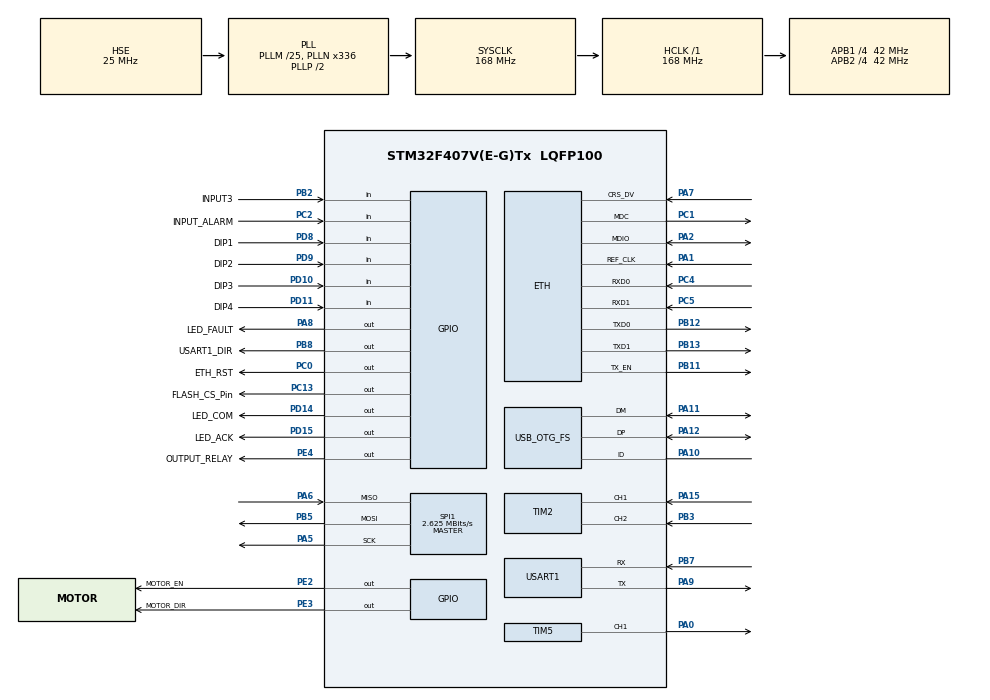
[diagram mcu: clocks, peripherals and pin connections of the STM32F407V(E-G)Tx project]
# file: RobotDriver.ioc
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Dma.Request0=USART1_RX
Dma.USART1_RX.0.Direction=DMA_PERIPH_TO_MEMORY
Dma.USART1_RX.0.FIFOMode=DMA_FIFOMODE_DISABLE
Dma.USART1_RX.0.Instance=DMA2_Stream2
Dma.USART1_RX.0.MemDataAlignment=DMA_MDATAALIGN_BYTE
Dma.USART1_RX.0.MemInc=DMA_MINC_ENABLE
Dma.USART1_RX.0.Mode=DMA_CIRCULAR
Dma.USART1_RX.0.PeriphDataAlignment=DMA_PDATAALIGN_BYTE
Dma.USART1_RX.0.PeriphInc=DMA_PINC_DISABLE
Dma.USART1_RX.0.Priority=DMA_PRIORITY_LOW
ETH.MediaInterface=HAL_ETH_RMII_MODE
FREERTOS.Tasks01=ModbusTCPTask,21,256,ModbusTCPTaskFunc,Default,NULL,Dynamic,NULL,NULL;MotorControlTas,21,128,MotorControlTaskFunc,Default,NULL,Dynamic,NULL,NULL;ModbusRTUTask,21,128,ModbusRTUTaskFunc,Default,NULL,Dynamic,NULL,NULL;GovernerTask,21,128,GovernerTaskFunc,Default,NULL,Dynamic,NULL,NULL
FREERTOS.configTOTAL_HEAP_SIZE=30000
LWIP.BSP.number=1
LWIP.GATEWAY_ADDRESS=192.168.001.001
LWIP.IP_ADDRESS=192.168.001.100
LWIP.LWIP_DHCP=0
LWIP.NETMASK_ADDRESS=255.255.255.000
LWIP.Version=v2.1.2_Cube
LWIP0.BSP.STBoard=false
LWIP0.BSP.api=BSP_COMPONENT_DRIVER
LWIP0.BSP.component=LAN8742
LWIP0.BSP.instance=LAN8742
LWIP0.BSP.name=Driver_PHY
LWIP0.BSP.semaphore=S_LAN8742
LWIP0.BSP.solution=LAN8742
Mcu.Family=STM32F4
Mcu.Name=STM32F407V(E-G)Tx
Mcu.Package=LQFP100
NVIC.DMA2_Stream2_IRQn=true\:5\:0\:false\:false\:true\:true\:false\:true\:true
NVIC.ETH_IRQn=true\:5\:0\:false\:false\:true\:true\:false\:true\:true
NVIC.PriorityGroup=NVIC_PRIORITYGROUP_4
NVIC.TIM5_IRQn=true\:5\:0\:false\:false\:true\:true\:true\:true\:true
NVIC.TIM6_DAC_IRQn=true\:15\:0\:false\:false\:true\:false\:false\:true\:true
NVIC.TimeBase=TIM6_DAC_IRQn
NVIC.TimeBaseIP=TIM6
NVIC.USART1_IRQn=true\:5\:0\:false\:false\:true\:true\:true\:true\:true
PA0-WKUP.Signal=S_TIM5_CH1
PA1.Mode=RMII
PA1.Signal=ETH_REF_CLK
PA10.Mode=OTG/Dual_Role_Device
PA10.Signal=USB_OTG_FS_ID
PA11.Mode=OTG/Dual_Role_Device
PA11.Signal=USB_OTG_FS_DM
PA12.Mode=OTG/Dual_Role_Device
PA12.Signal=USB_OTG_FS_DP
PA13.Mode=Serial_Wire
PA13.Signal=SYS_JTMS-SWDIO
PA14.Mode=Serial_Wire
PA14.Signal=SYS_JTCK-SWCLK
PA15.Signal=S_TIM2_CH1_ETR
PA2.Mode=RMII
PA2.Signal=ETH_MDIO
PA5.Mode=Full_Duplex_Master
PA5.Signal=SPI1_SCK
PA6.Mode=Full_Duplex_Master
PA6.Signal=SPI1_MISO
PA7.Mode=RMII
PA7.Signal=ETH_CRS_DV
PA8.GPIO_Label=LED_FAULT
PA8.PinState=GPIO_PIN_SET
PA8.Signal=GPIO_Output
PA9.Mode=Asynchronous
PA9.Signal=USART1_TX
PB11.Mode=RMII
PB11.Signal=ETH_TX_EN
PB12.Mode=RMII
PB12.Signal=ETH_TXD0
PB13.Mode=RMII
PB13.Signal=ETH_TXD1
PB2.GPIO_Label=INPUT3
PB2.Signal=GPIO_Input
PB3.Signal=S_TIM2_CH2
PB5.Mode=Full_Duplex_Master
PB5.Signal=SPI1_MOSI
PB7.Mode=Asynchronous
PB7.Signal=USART1_RX
PB8.GPIO_Label=USART1_DIR
PB8.Signal=GPIO_Output
PC0.GPIO_Label=ETH_RST
PC0.Signal=GPIO_Output
PC1.Mode=RMII
PC1.Signal=ETH_MDC
PC13-ANTI_TAMP.GPIO_Label=FLASH_CS_Pin
PC13-ANTI_TAMP.Signal=GPIO_Output
PC2.GPIO_Label=INPUT_ALARM
PC2.GPIO_PuPd=GPIO_PULLUP
PC2.Signal=GPIO_Input
PC4.Mode=RMII
PC4.Signal=ETH_RXD0
PC5.Mode=RMII
PC5.Signal=ETH_RXD1
PD10.GPIO_Label=DIP3
PD10.GPIO_PuPd=GPIO_PULLUP
PD10.Signal=GPIO_Input
PD11.GPIO_Label=DIP4
PD11.GPIO_PuPd=GPIO_PULLUP
PD11.Signal=GPIO_Input
PD14.GPIO_Label=LED_COM
PD14.PinState=GPIO_PIN_SET
PD14.Signal=GPIO_Output
PD15.GPIO_Label=LED_ACK
PD15.PinState=GPIO_PIN_SET
PD15.Signal=GPIO_Output
PD8.GPIO_Label=DIP1
PD8.GPIO_PuPd=GPIO_PULLUP
PD8.Signal=GPIO_Input
PD9.GPIO_Label=DIP2
PD9.GPIO_PuPd=GPIO_PULLUP
PD9.Signal=GPIO_Input
PE2.GPIO_Label=MOTOR_EN
PE2.Signal=GPIO_Output
PE3.GPIO_Label=MOTOR_DIR
PE3.Signal=GPIO_Output
PE4.GPIO_Label=OUTPUT_RELAY
PE4.Signal=GPIO_Output
PH0-OSC_IN.Mode=HSE-External-Oscillator
PH0-OSC_IN.Signal=RCC_OSC_IN
PH1-OSC_OUT.Mode=HSE-External-Oscillator
PH1-OSC_OUT.Signal=RCC_OSC_OUT
ProjectManager.HeapSize=0x2000
ProjectManager.StackSize=0x4000
ProjectManager.TargetToolchain=EWARM V8.50
RCC.48MHZClocksFreq_Value=48000000
RCC.AHBFreq_Value=168000000
RCC.APB1CLKDivider=RCC_HCLK_DIV4
RCC.APB1Freq_Value=42000000
RCC.APB1TimFreq_Value=84000000
RCC.APB2CLKDivider=RCC_HCLK_DIV4
RCC.APB2Freq_Value=42000000
RCC.APB2TimFreq_Value=84000000
RCC.CortexFreq_Value=168000000
RCC.EnbaleCSS=true
RCC.HCLKFreq_Value=168000000
RCC.HSE_VALUE=25000000
RCC.HSI_VALUE=16000000
RCC.LSE_VALUE=32768
RCC.PLLM=25
RCC.PLLN=336
RCC.PLLQ=7
RCC.SYSCLKFreq_VALUE=168000000
RCC.SYSCLKSource=RCC_SYSCLKSOURCE_PLLCLK
RCC.VCOOutputFreq_Value=336000000
SH.S_TIM2_CH1_ETR.0=TIM2_CH1,Encoder_Interface
SH.S_TIM2_CH2.0=TIM2_CH2,Encoder_Interface
SH.S_TIM5_CH1.0=TIM5_CH1,PWM Generation1 CH1
SPI1.BaudRatePrescaler=SPI_BAUDRATEPRESCALER_16
SPI1.CalculateBaudRate=2.625 MBits/s
SPI1.Direction=SPI_DIRECTION_2LINES
SPI1.Mode=SPI_MODE_MASTER
SPI1.VirtualType=VM_MASTER
TIM5.Channel-PWM\ Generation1\ CH1=TIM_CHANNEL_1
USART1.VirtualMode=VM_ASYNC
VP_FREERTOS_VS_CMSIS_V2.Mode=CMSIS_V2
VP_LWIP_VS_Enabled.Mode=Enabled
VP_SYS_VS_tim6.Mode=TIM6
board=custom

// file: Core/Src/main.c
/* USER CODE BEGIN Header */
/**
******************************************************************************
* @file           : main.c
* @brief          : Main program body
******************************************************************************
* @attention
*
* Copyright (c) 2024 STMicroelectronics.
* All rights reserved.
*
* This software is licensed under terms that can be found in the LICENSE file
* in the root directory of this software component.
* If no LICENSE file comes with this software, it is provided AS-IS.
*
******************************************************************************
*/
/* USER CODE END Header */
#include "main.h"
#include "cmsis_os.h"
#include "lwip.h"

/* USER CODE BEGIN Includes */
#include "lwip/apps/httpd.h"
#include "string.h"
#include "stdio.h"
#include "stdlib.h"
#include "lwip/opt.h"
#include "lwip/arch.h"
#include "api.h"
#include "string.h"
#include "lwip/netif.h"
#include "lwip/tcp.h"
#include "lwip/tcpip.h"
#include "lwip/udp.h"
#include "lwip/netbuf.h"
#include "lwip/pbuf.h"
#include "lwip/sys.h"
#include "err.h"
#include "lwip/ip.h"
#include "lwip/ip4.h"
#include "lwip/ip4_addr.h"
#include "lwip/ip_addr.h"
#include "lwip/sockets.h"
#include <stdbool.h>
#include <stdint.h>
#include <stdio.h>
#include <stdlib.h>
#include <string.h>
#include "mbap_conf.h"
#include "mbap_user.h"
#include "tcp1.h"

#include <float.h>
#include <math.h>
#include <float.h>
#include <math.h>
#include <stdio.h>
#include <stdlib.h>
#include <string.h>

#include "printf.h"

#include "modbus_master.h"

#include "w25qxx.h"
#include "w25qxxConf.h"

#include "pid.h"

#include <stdio.h>
#include <string.h>
#include "eeprom.h"
#include <math.h>
/* USER CODE END Includes */

SPI_HandleTypeDef hspi1;

TIM_HandleTypeDef htim2;
TIM_HandleTypeDef htim5;

/* Definitions for ModbusTCPTask */
osThreadId_t ModbusTCPTaskHandle;
const osThreadAttr_t ModbusTCPTask_attributes = {
  .name = "ModbusTCPTask",
  .stack_size = 350 * 4,
  .priority = (osPriority_t) osPriorityBelowNormal5,
};
/* Definitions for MotorControlTas */
osThreadId_t MotorControlTasHandle;
const osThreadAttr_t MotorControlTas_attributes = {
  .name = "MotorControlTas",
  .stack_size = 256 * 4,
  .priority = (osPriority_t) osPriorityBelowNormal5,
};
/* Definitions for ModbusRTUTask */
osThreadId_t ModbusRTUTaskHandle;
const osThreadAttr_t ModbusRTUTask_attributes = {
  .name = "ModbusRTUTask",
  .stack_size = 168 * 4,
  .priority = (osPriority_t) osPriorityBelowNormal5,
};
/* Definitions for GovernerTask */
osThreadId_t GovernerTaskHandle;
const osThreadAttr_t GovernerTask_attributes = {
  .name = "GovernerTask",
  .stack_size = 256 * 4,
  .priority = (osPriority_t) osPriorityBelowNormal5,
};
/* USER CODE BEGIN PV */
uint16_t VirtAddVarTab[64] = {0x10,0x20,0x30,0x40,0x50,0x60,0x70,0x80,0x90,0xA0,0xB0,0xC0,0xD0,0xE,0xF0,
0x100,0x110,0x120,0x130,0x140,0x150,0x160,0x170,0x180,0x190,0x1A0,0x1B0,0x1C0,
0x1D0,0x1E0,0x1F0,0x200,0x210,0x220,0x230,0x240,0x250,0x260,0x270,0x280,0x290,0x2A0,0x2B0,
0x2C0,0x2D0,0x2E0,0x2F0,0x300,0x310,0x320,0x330,0x340,0x350,0x360,0x370,0x380,0x390,0x3A0,0x3B0,0x3C0,0x3D0,0x3E0,0x3F0,0x400
};

int spiflash_ID = 0;

uint8_t state_modbus=0;
uint8_t result_modbus1;
uint16_t discreet_input_result_modbus;
uint8_t result_modbus2;
int plc_relay1 = 0;
int plc_relay2 = 0;
int plc_relay3 = 0;
int plc_relay4 = 0;
int plc_relay5 = 0;
int plc_relay6 = 0;
int plc_input1 = 0;
int plc_input2 = 0;
int plc_input3 = 0;
int plc_input4 = 0;
int plc_input5 = 0;
int plc_input6 = 0;
int plc_input7 = 0;
int plc_input8 = 0;

//modbus rtu vars
#define ARRAY_LEN(x)            (sizeof(x) / sizeof((x)[0]))
uint8_t usart_rx[128];
size_t pos;
uint16_t old_pos;
uint16_t old_pos_uart1;
uint16_t lenght_uart1;
uint16_t position_uart1;
uint16_t lenght_uart1;

//dip switch and addressing variables
int dip1 = 0;
int dip2 = 0;
int dip3 = 0;
int dip4 = 0;
int address = 0;
int addressNew = 0;
int bootFlag = 0;
uint8_t ipLastPart = 2 ;
uint8_t MACAddrUSER ;
int booted = 0;
int RTUMaster = 0;

int pulse_count = 0;
int modbusStart = 0;
uint8_t discreet_input_status = 0;
int modbus_tcp_blinker = 0;

//motor variables
int hardware_reduction1 = 0;
int hardware_reduction2 = 0;
int hardware_reduction3 = 0;
int hardware_reduction4 = 0;
int hardware_reduction5 = 0;
int hardware_reduction6 = 0;

int current_hardware_reduction = 0;

int pulse_count1 = 0;
int motor_start1 = 0;
int motor_pulse1 = 0;
int motor1ActionBit = 0;
int PWM_NUM1 = 2000;

int motor1ActionBit2 = 0;

int joint1UpperT = 175;
int joint1LowerT = -175;

int pulse_count1TIM = 0;

int pulse_rotation1 = 0;

int motor1DirBit = 0;

int motor1Rotation = 0;

int homeSwState1 = 0;

int commandUpdateBit = 0;

uint8_t command1_str[6];

uint8_t command1Sign_str[2];

int commandManualUpdateBit = 0 ;

int command1 = 0;

float command1F = 0;

int sign1 = 0;

int posReset = 0;
int gripperCommand = 0;

int actionBit = 0;
int actionBit2 = 0;
int motorRotationConstant = 20000;
int motor1GearRatio = 0; ;
int address1GearRatio = 100;
int address2GearRatio = 150;
int address3GearRatio = 100;
int address4GearRatio = 100;
int address5GearRatio = 100;
int address6GearRatio = 50;
int motor1PulseCom = 0;

int manualControlBit = 0;

uint16_t virginity_bit;
int flash_state = 0;
int flash_page_change = 0;
uint16_t motor1CurrentPosEE = 0;

uint16_t motor1CurrentsignEE = 0;

float goalDegree1 = 0;

float degreeDifference1 = 0;

int signDifference1 = 0;

float currentDegree1 = 0;

uint8_t first_byte[2];
int eepromResetBit = 0;

int actionDone = 0;

int manualMotorNum = 0;
int manualMotorSign = 0;
int manualMotorPulse = 0;
int manualEepromReset = 0;
double PWMFrequency = 0;
double PWMSetPoint = 0;

int commandDegreeInput1 = 0;

int command1OK = 0;

int actionDone2 = 0;
int actionDone3 = 0;

int controllerComandBit = 0;

typedef struct{
  int16_t velocity;
  int64_t position;
  uint32_t last_counter_value;
  int direction;
  int isMoving;
  int64_t realPosition;
}encoder_instance;

encoder_instance enc_instance_mot;

PID_TypeDef MPID;

double frequency,frequency_out, frequencySetpoint;
int pwmARR = 0;
int pwmPSC = 0;

double PID_P = 0.8 ;

int encoder_counter = 0;

int encoderValueP;

int encoder_position = 0;
int encoder_velocity = 0;
int encoder_direction = 0;
int encoderPositionReal = 0;
int motorEN = 0;
/* USER CODE END PV */

void SystemClock_Config(void);
static void MX_GPIO_Init(void);
static void MX_DMA_Init(void);
static void MX_SPI1_Init(void);
static void MX_TIM2_Init(void);
static void MX_TIM5_Init(void);
static void MX_USART1_UART_Init(void);
static void MX_USB_OTG_FS_USB_Init(void);
void ModbusTCPTaskFunc(void *argument);
void MotorControlTaskFunc(void *argument);
void ModbusRTUTaskFunc(void *argument);
void GovernerTaskFunc(void *argument);

/* USER CODE BEGIN PFP */
void setARR1(TIM_HandleTypeDef timer, uint32_t channel,uint16_t pulse){

  __HAL_TIM_SetAutoreload(&timer,pulse);
  __HAL_TIM_SetCompare(&timer,channel,pulse/2);
  // __HAL_TIM_URS_ENABLE(&timer);
  TIM5->EGR |= TIM_EGR_UG;
}

void HAL_TIM_PWM_PulseFinishedCallback(TIM_HandleTypeDef *htim){
  if(htim -> Instance == TIM5)
  {
    if(htim->Channel == HAL_TIM_ACTIVE_CHANNEL_1)
    {
      pulse_count1++;

    }
  }
  ////////////////////////////

  ////////////////////////////
}

void usart_transmit_data(const void* data, uint16_t len) {
  const uint8_t* b = data;
  while (len--) {
    LL_USART_TransmitData8(USART1, *b++);
    while (!LL_USART_IsActiveFlag_TXE(USART1));
  }
}

/**
* \brief           Process received data over UART
* \note            Either process them directly or copy to other bigger buffer
* \param[in]       data: Data to process
* \param[in]       len: Length in units of bytes
*/
void usart_process_data(const void* data, size_t len) {
  const uint8_t* d = data;
  while (len--) {
    LL_USART_TransmitData8(USART1, *d++);
    while (!LL_USART_IsActiveFlag_TXE(USART1));
  }
  while (!LL_USART_IsActiveFlag_TC(USART1));
}

/**
* \brief           Send string to USART
* \param[in]       str: String to send
*/
void usart_send_string(const char* str) {
  usart_process_data(str, strlen(str));
}

int extractBit(
               int num,
               int bitPosition)
{
  // Create a mask with only the 5th bit set to 1
  unsigned int mask = 1 << bitPosition;

  // Extract the bit using AND and right shift
  unsigned int extracted_bit
    = (num & mask) >> bitPosition;

  // Print the result

  return extracted_bit;
}

int setBit(
           int N,
           int K)
{

  // Bitwise OR with the mask
  return (N | (1 << (K - 1)));
}

int clearBit(
             int N,
             int K)
{

  // Bitwise AND with the mask
  return (N & (~(1 << (K - 1))));
}

int toggleBit(
              int N,
              int K)
{

  // Bitwise XOR with the mask
  return (N ^ (1 << (K - 1)));
}

uint8_t insert_bit(uint8_t n,   // The integer we are going to insert into
                   int position, // position is the position of the new bit to be inserted
                   int new_bit) // whether the newly inserted bit is true or false
{
  uint8_t x = n;
  uint8_t y = x;
  x <<= 1;
  if (new_bit)
    x |= (((uint8_t) 1) << position);
  else
    x &= ~(((uint8_t) 1) << position);
  x &= ((~((uint8_t) 0)) << position);
  y &= ~((~((uint8_t) 0)) << position);
  x |= y;
  return x;
}

/**
* @brief USART1 Initialization Function
* @param None
* @retval None
*/
static void MX_USART1_UART_Init(void)
{

  /* USER CODE BEGIN USART1_Init 0 */

  /* USER CODE END USART1_Init 0 */

  LL_USART_InitTypeDef USART_InitStruct = {0};

  LL_GPIO_InitTypeDef GPIO_InitStruct = {0};

  /* Peripheral clock enable */
  LL_APB2_GRP1_EnableClock(LL_APB2_GRP1_PERIPH_USART1);

  LL_AHB1_GRP1_EnableClock(LL_AHB1_GRP1_PERIPH_GPIOA);
  LL_AHB1_GRP1_EnableClock(LL_AHB1_GRP1_PERIPH_GPIOB);
  /**USART1 GPIO Configuration
  PA9   ------> USART1_TX
  PB7   ------> USART1_RX
  */
  GPIO_InitStruct.Pin = LL_GPIO_PIN_9;
  GPIO_InitStruct.Mode = LL_GPIO_MODE_ALTERNATE;
  GPIO_InitStruct.Speed = LL_GPIO_SPEED_FREQ_VERY_HIGH;
  GPIO_InitStruct.OutputType = LL_GPIO_OUTPUT_PUSHPULL;
  GPIO_InitStruct.Pull = LL_GPIO_PULL_NO;
  GPIO_InitStruct.Alternate = LL_GPIO_AF_7;
  LL_GPIO_Init(GPIOA, &GPIO_InitStruct);

  GPIO_InitStruct.Pin = LL_GPIO_PIN_7;
  GPIO_InitStruct.Mode = LL_GPIO_MODE_ALTERNATE;
  GPIO_InitStruct.Speed = LL_GPIO_SPEED_FREQ_VERY_HIGH;
  GPIO_InitStruct.OutputType = LL_GPIO_OUTPUT_PUSHPULL;
  GPIO_InitStruct.Pull = LL_GPIO_PULL_NO;
  GPIO_InitStruct.Alternate = LL_GPIO_AF_7;
  LL_GPIO_Init(GPIOB, &GPIO_InitStruct);

  /* USART1 DMA Init */

  /* USART1_RX Init */
  LL_DMA_SetChannelSelection(DMA2, LL_DMA_STREAM_2, LL_DMA_CHANNEL_4);

  LL_DMA_SetDataTransferDirection(DMA2, LL_DMA_STREAM_2, LL_DMA_DIRECTION_PERIPH_TO_MEMORY);

  LL_DMA_SetStreamPriorityLevel(DMA2, LL_DMA_STREAM_2, LL_DMA_PRIORITY_LOW);

  LL_DMA_SetMode(DMA2, LL_DMA_STREAM_2, LL_DMA_MODE_CIRCULAR);

  LL_DMA_SetPeriphIncMode(DMA2, LL_DMA_STREAM_2, LL_DMA_PERIPH_NOINCREMENT);

  LL_DMA_SetMemoryIncMode(DMA2, LL_DMA_STREAM_2, LL_DMA_MEMORY_INCREMENT);

  LL_DMA_SetPeriphSize(DMA2, LL_DMA_STREAM_2, LL_DMA_PDATAALIGN_BYTE);

  LL_DMA_SetMemorySize(DMA2, LL_DMA_STREAM_2, LL_DMA_MDATAALIGN_BYTE);

  LL_DMA_DisableFifoMode(DMA2, LL_DMA_STREAM_2);

  LL_DMA_SetPeriphAddress(DMA2, LL_DMA_STREAM_2, (uint32_t)&USART1->DR);
  LL_DMA_SetMemoryAddress(DMA2, LL_DMA_STREAM_2, (uint32_t)usart_rx);
  LL_DMA_SetDataLength(DMA2, LL_DMA_STREAM_2, ARRAY_LEN(usart_rx));

  /* USART1 interrupt Init */
  NVIC_SetPriority(USART1_IRQn, NVIC_EncodePriority(NVIC_GetPriorityGrouping(),5, 0));
  NVIC_EnableIRQ(USART1_IRQn);

  /* USER CODE BEGIN USART1_Init 1 */

  /* USER CODE END USART1_Init 1 */
  USART_InitStruct.BaudRate = 115200;
  USART_InitStruct.DataWidth = LL_USART_DATAWIDTH_8B;
  USART_InitStruct.StopBits = LL_USART_STOPBITS_1;
  USART_InitStruct.Parity = LL_USART_PARITY_NONE;
  USART_InitStruct.TransferDirection = LL_USART_DIRECTION_TX_RX;
  USART_InitStruct.HardwareFlowControl = LL_USART_HWCONTROL_NONE;
  USART_InitStruct.OverSampling = LL_USART_OVERSAMPLING_16;
  LL_USART_Init(USART1, &USART_InitStruct);
  LL_USART_ConfigAsyncMode(USART1);
  LL_USART_EnableDMAReq_RX(USART1);

  LL_USART_EnableIT_IDLE(USART1);
  LL_DMA_EnableStream(DMA2, LL_DMA_STREAM_2);

  LL_USART_Enable(USART1);
  /* USER CODE BEGIN USART1_Init 2 */

  /* USER CODE END USART1_Init 2 */

}

void update_encoder(encoder_instance *encoder_value, TIM_HandleTypeDef *htim)
{
  uint32_t temp_counter = __HAL_TIM_GET_COUNTER(htim);
  static uint8_t first_time = 0;
  if(!first_time)
  {
    encoder_value ->velocity = 0;
    first_time = 1;
  }
  else
  {
    if(temp_counter == encoder_value ->last_counter_value)
    {
      encoder_value ->velocity = 0;

    }
    else if(temp_counter > encoder_value ->last_counter_value)
    {
      if (__HAL_TIM_IS_TIM_COUNTING_DOWN(htim))
      {

        encoder_value ->direction = -1;
        encoder_value ->velocity = -encoder_value ->last_counter_value -
          (__HAL_TIM_GET_AUTORELOAD(htim)-temp_counter);
      }
      else
      {
        encoder_value ->direction = 1;
        encoder_value ->velocity = temp_counter -
          encoder_value ->last_counter_value;
      }
    }
    else
    {
      if (__HAL_TIM_IS_TIM_COUNTING_DOWN(htim))
      {
        encoder_value ->direction = -1;
	encoder_value ->velocity = temp_counter -
          encoder_value ->last_counter_value;
      }
      else
      {
        encoder_value ->direction = 1;
	encoder_value ->velocity = temp_counter +
          (__HAL_TIM_GET_AUTORELOAD(htim) -
           encoder_value ->last_counter_value);
      }
    }
  }
  encoder_value ->position += encoder_value ->velocity;
  encoder_value ->last_counter_value = temp_counter;
}

//array to integer function
int myAtoi(char *str){
  int res = 0; // Initialize result

  // Iterate through all characters of input string and
  // update result
  for (int i = 0; str[i] != '\0'; ++i)
    res = res*10 + str[i] - '0';

  // return result.
  return res;
}

int degree2pulse(float degree,int gearRatio,int motorSingleRotation){
  int pulse = 0;
  pulse = (int)((((double)degree)/360.00)* ((double)motorSingleRotation) * (double)gearRatio );

  return pulse;
}

float degreeCommandCal(float command,int sign){
  float realCommand = 0;
  if(sign == 1){
    realCommand = command * -1;
    return realCommand;
  }else{
    realCommand = command;
    return realCommand;

  }

}

//device and eeprom init function
void Device_Init(void){
  EE_ReadVariable(VirtAddVarTab[0], &virginity_bit);//reading fisrt boot

  if(virginity_bit!=1 ){

    EE_WriteVariable(VirtAddVarTab[0],1 );//virginity_bit
    EE_WriteVariable(VirtAddVarTab[1],0 );//motor 1 sign
    EE_WriteVariable(VirtAddVarTab[2],0 );//motor1 angle

  }
  ///////////////////////////////////////////

  EE_ReadVariable(VirtAddVarTab[0],&virginity_bit);
  EE_ReadVariable(VirtAddVarTab[1],&motor1CurrentsignEE);
  EE_ReadVariable(VirtAddVarTab[2],&motor1CurrentPosEE);

}

//eeprom update
void EEPROM_UPDATE(void){

  EE_WriteVariable(VirtAddVarTab[0],virginity_bit);
  EE_ReadVariable(VirtAddVarTab[0], &virginity_bit);
  EE_WriteVariable(VirtAddVarTab[1],motor1CurrentsignEE);
  EE_ReadVariable(VirtAddVarTab[1],&motor1CurrentsignEE);
  EE_WriteVariable(VirtAddVarTab[2],motor1CurrentPosEE);
  EE_ReadVariable(VirtAddVarTab[2],&motor1CurrentPosEE);

}
//eeprom update END

//calculate pulse difference
float calculatingDifferencePulse(float currentdegree,float goaldegree,int currentSign,int goalSign){
  float degreeDifference = 0;
  //make the numbers correct with their sign
  //subtract goal position form current position
  //return the value

  if(currentSign == 1){

    currentdegree = currentdegree * -1;

  }
  if(goalSign == 1){
    goaldegree = goaldegree * -1;
  }

  degreeDifference = goaldegree - currentdegree;

  return degreeDifference;
}
//calculate pulse difference END

int calculatePWMFrequency(int PSC,int ARR,int TimerClock){
  int PWMFrequency = 0;
  PWMFrequency = TimerClock / ((PSC + 1) * (ARR + 1));

  return PWMFrequency ;
}

int calculatePWMARR(int PSC,int InputFrequency,int TimerClock){
  int ARR = 0;
  ARR = TimerClock / ((PSC + 1) * InputFrequency);

  return ARR ;
}

/* USER CODE END PFP */

int main(void)
{

  /* MCU Configuration--------------------------------------------------------*/

  /* Reset of all peripherals, Initializes the Flash interface and the Systick. */
  HAL_Init();

  /* Configure the system clock */
  SystemClock_Config();

  /* Initialize all configured peripherals */
  MX_GPIO_Init();
  MX_DMA_Init();
  MX_SPI1_Init();
  MX_TIM2_Init();
  MX_TIM5_Init();
  MX_USART1_UART_Init();
  MX_USB_OTG_FS_USB_Init();
  /* USER CODE BEGIN 2 */
  HAL_FLASH_Unlock();
  flash_state = EE_Init();
  Device_Init();
  /* USER CODE END 2 */

  /* Init scheduler */
  osKernelInitialize();

  /* Create the thread(s) */
  /* creation of ModbusTCPTask */
  ModbusTCPTaskHandle = osThreadNew(ModbusTCPTaskFunc, NULL, &ModbusTCPTask_attributes);

  /* creation of MotorControlTas */
  MotorControlTasHandle = osThreadNew(MotorControlTaskFunc, NULL, &MotorControlTas_attributes);

  /* creation of ModbusRTUTask */
  ModbusRTUTaskHandle = osThreadNew(ModbusRTUTaskFunc, NULL, &ModbusRTUTask_attributes);

  /* creation of GovernerTask */
  GovernerTaskHandle = osThreadNew(GovernerTaskFunc, NULL, &GovernerTask_attributes);

  /* Start scheduler */
  osKernelStart();

  /* We should never get here as control is now taken by the scheduler */

  /* Infinite loop */
  while (1)
  {

  }
}

void SystemClock_Config(void)
{
  RCC_OscInitTypeDef RCC_OscInitStruct = {0};
  RCC_ClkInitTypeDef RCC_ClkInitStruct = {0};

  /** Configure the main internal regulator output voltage
  */
  __HAL_RCC_PWR_CLK_ENABLE();
  __HAL_PWR_VOLTAGESCALING_CONFIG(PWR_REGULATOR_VOLTAGE_SCALE1);

  /** Initializes the RCC Oscillators according to the specified parameters
  * in the RCC_OscInitTypeDef structure.
  */
  RCC_OscInitStruct.OscillatorType = RCC_OSCILLATORTYPE_HSE;
  RCC_OscInitStruct.HSEState = RCC_HSE_ON;
  RCC_OscInitStruct.PLL.PLLState = RCC_PLL_ON;
  RCC_OscInitStruct.PLL.PLLSource = RCC_PLLSOURCE_HSE;
  RCC_OscInitStruct.PLL.PLLM = 25;
  RCC_OscInitStruct.PLL.PLLN = 336;
  RCC_OscInitStruct.PLL.PLLP = RCC_PLLP_DIV2;
  RCC_OscInitStruct.PLL.PLLQ = 7;
  if (HAL_RCC_OscConfig(&RCC_OscInitStruct) != HAL_OK)
  {
    Error_Handler();
  }

  /** Initializes the CPU, AHB and APB buses clocks
  */
  RCC_ClkInitStruct.ClockType = RCC_CLOCKTYPE_HCLK|RCC_CLOCKTYPE_SYSCLK
    |RCC_CLOCKTYPE_PCLK1|RCC_CLOCKTYPE_PCLK2;
  RCC_ClkInitStruct.SYSCLKSource = RCC_SYSCLKSOURCE_PLLCLK;
  RCC_ClkInitStruct.AHBCLKDivider = RCC_SYSCLK_DIV1;
  RCC_ClkInitStruct.APB1CLKDivider = RCC_HCLK_DIV4;
  RCC_ClkInitStruct.APB2CLKDivider = RCC_HCLK_DIV4;

  if (HAL_RCC_ClockConfig(&RCC_ClkInitStruct, FLASH_LATENCY_5) != HAL_OK)
  {
    Error_Handler();
  }

  /** Enables the Clock Security System
  */
  HAL_RCC_EnableCSS();
}

static void MX_SPI1_Init(void)
{

  /* SPI1 parameter configuration*/
  hspi1.Instance = SPI1;
  hspi1.Init.Mode = SPI_MODE_MASTER;
  hspi1.Init.Direction = SPI_DIRECTION_2LINES;
  hspi1.Init.DataSize = SPI_DATASIZE_8BIT;
  hspi1.Init.CLKPolarity = SPI_POLARITY_LOW;
  hspi1.Init.CLKPhase = SPI_PHASE_1EDGE;
  hspi1.Init.NSS = SPI_NSS_SOFT;
  hspi1.Init.BaudRatePrescaler = SPI_BAUDRATEPRESCALER_16;
  hspi1.Init.FirstBit = SPI_FIRSTBIT_MSB;
  hspi1.Init.TIMode = SPI_TIMODE_DISABLE;
  hspi1.Init.CRCCalculation = SPI_CRCCALCULATION_DISABLE;
  hspi1.Init.CRCPolynomial = 10;
  if (HAL_SPI_Init(&hspi1) != HAL_OK)
  {
    Error_Handler();
  }

}

static void MX_TIM2_Init(void)
{

  TIM_Encoder_InitTypeDef sConfig = {0};
  TIM_MasterConfigTypeDef sMasterConfig = {0};

  htim2.Instance = TIM2;
  htim2.Init.Prescaler = 0;
  htim2.Init.CounterMode = TIM_COUNTERMODE_UP;
  htim2.Init.Period = 4294967295;
  htim2.Init.ClockDivision = TIM_CLOCKDIVISION_DIV1;
  htim2.Init.AutoReloadPreload = TIM_AUTORELOAD_PRELOAD_DISABLE;
  sConfig.EncoderMode = TIM_ENCODERMODE_TI1;
  sConfig.IC1Polarity = TIM_ICPOLARITY_RISING;
  sConfig.IC1Selection = TIM_ICSELECTION_DIRECTTI;
  sConfig.IC1Prescaler = TIM_ICPSC_DIV1;
  sConfig.IC1Filter = 0;
  sConfig.IC2Polarity = TIM_ICPOLARITY_RISING;
  sConfig.IC2Selection = TIM_ICSELECTION_DIRECTTI;
  sConfig.IC2Prescaler = TIM_ICPSC_DIV1;
  sConfig.IC2Filter = 0;
  if (HAL_TIM_Encoder_Init(&htim2, &sConfig) != HAL_OK)
  {
    Error_Handler();
  }
  sMasterConfig.MasterOutputTrigger = TIM_TRGO_RESET;
  sMasterConfig.MasterSlaveMode = TIM_MASTERSLAVEMODE_DISABLE;
  if (HAL_TIMEx_MasterConfigSynchronization(&htim2, &sMasterConfig) != HAL_OK)
  {
    Error_Handler();
  }

}

static void MX_TIM5_Init(void)
{

  TIM_MasterConfigTypeDef sMasterConfig = {0};
  TIM_OC_InitTypeDef sConfigOC = {0};

  htim5.Instance = TIM5;
  htim5.Init.Prescaler = 0;
  htim5.Init.CounterMode = TIM_COUNTERMODE_UP;
  htim5.Init.Period = 4294967295;
  htim5.Init.ClockDivision = TIM_CLOCKDIVISION_DIV1;
  htim5.Init.AutoReloadPreload = TIM_AUTORELOAD_PRELOAD_DISABLE;
  if (HAL_TIM_PWM_Init(&htim5) != HAL_OK)
  {
    Error_Handler();
  }
  sMasterConfig.MasterOutputTrigger = TIM_TRGO_RESET;
  sMasterConfig.MasterSlaveMode = TIM_MASTERSLAVEMODE_DISABLE;
  if (HAL_TIMEx_MasterConfigSynchronization(&htim5, &sMasterConfig) != HAL_OK)
  {
    Error_Handler();
  }
  sConfigOC.OCMode = TIM_OCMODE_PWM1;
  sConfigOC.Pulse = 0;
  sConfigOC.OCPolarity = TIM_OCPOLARITY_HIGH;
  sConfigOC.OCFastMode = TIM_OCFAST_DISABLE;
  if (HAL_TIM_PWM_ConfigChannel(&htim5, &sConfigOC, TIM_CHANNEL_1) != HAL_OK)
  {
    Error_Handler();
  }
  HAL_TIM_MspPostInit(&htim5);

}

static void MX_USB_OTG_FS_USB_Init(void)
{

}

static void MX_DMA_Init(void)
{

  /* Init with LL driver */
  /* DMA controller clock enable */
  LL_AHB1_GRP1_EnableClock(LL_AHB1_GRP1_PERIPH_DMA2);

  /* DMA interrupt init */
  /* DMA2_Stream2_IRQn interrupt configuration */
  NVIC_SetPriority(DMA2_Stream2_IRQn, NVIC_EncodePriority(NVIC_GetPriorityGrouping(),5, 0));
  NVIC_EnableIRQ(DMA2_Stream2_IRQn);

}

static void MX_GPIO_Init(void)
{
  GPIO_InitTypeDef GPIO_InitStruct = {0};

  /* GPIO Ports Clock Enable */
  __HAL_RCC_GPIOE_CLK_ENABLE();
  __HAL_RCC_GPIOC_CLK_ENABLE();
  __HAL_RCC_GPIOH_CLK_ENABLE();
  __HAL_RCC_GPIOA_CLK_ENABLE();
  __HAL_RCC_GPIOB_CLK_ENABLE();
  __HAL_RCC_GPIOD_CLK_ENABLE();

  /*Configure GPIO pin Output Level */
  HAL_GPIO_WritePin(GPIOE, MOTOR_EN_Pin|MOTOR_DIR_Pin|OUTPUT_RELAY_Pin, GPIO_PIN_RESET);

  /*Configure GPIO pin Output Level */
  HAL_GPIO_WritePin(GPIOC, FLASH_CS_Pin_Pin|ETH_RST_Pin, GPIO_PIN_RESET);

  /*Configure GPIO pin Output Level */
  HAL_GPIO_WritePin(GPIOD, LED_COM_Pin|LED_ACK_Pin, GPIO_PIN_SET);

  /*Configure GPIO pin Output Level */
  HAL_GPIO_WritePin(LED_FAULT_GPIO_Port, LED_FAULT_Pin, GPIO_PIN_SET);

  /*Configure GPIO pin Output Level */
  HAL_GPIO_WritePin(USART1_DIR_GPIO_Port, USART1_DIR_Pin, GPIO_PIN_RESET);

  /*Configure GPIO pins : MOTOR_EN_Pin MOTOR_DIR_Pin OUTPUT_RELAY_Pin */
  GPIO_InitStruct.Pin = MOTOR_EN_Pin|MOTOR_DIR_Pin|OUTPUT_RELAY_Pin;
  GPIO_InitStruct.Mode = GPIO_MODE_OUTPUT_PP;
  GPIO_InitStruct.Pull = GPIO_NOPULL;
  GPIO_InitStruct.Speed = GPIO_SPEED_FREQ_LOW;
  HAL_GPIO_Init(GPIOE, &GPIO_InitStruct);

  /*Configure GPIO pins : PE5 PE6 PE7 PE8
  PE9 PE10 PE11 PE12
  PE13 PE14 PE15 PE0
  PE1 */
  GPIO_InitStruct.Pin = GPIO_PIN_5|GPIO_PIN_6|GPIO_PIN_7|GPIO_PIN_8
    |GPIO_PIN_9|GPIO_PIN_10|GPIO_PIN_11|GPIO_PIN_12
      |GPIO_PIN_13|GPIO_PIN_14|GPIO_PIN_15|GPIO_PIN_0
        |GPIO_PIN_1;
  GPIO_InitStruct.Mode = GPIO_MODE_ANALOG;
  GPIO_InitStruct.Pull = GPIO_NOPULL;
  HAL_GPIO_Init(GPIOE, &GPIO_InitStruct);

  /*Configure GPIO pins : FLASH_CS_Pin_Pin ETH_RST_Pin */
  GPIO_InitStruct.Pin = FLASH_CS_Pin_Pin|ETH_RST_Pin;
  GPIO_InitStruct.Mode = GPIO_MODE_OUTPUT_PP;
  GPIO_InitStruct.Pull = GPIO_NOPULL;
  GPIO_InitStruct.Speed = GPIO_SPEED_FREQ_LOW;
  HAL_GPIO_Init(GPIOC, &GPIO_InitStruct);

  /*Configure GPIO pins : PC14 PC15 PC3 PC6
  PC7 PC8 PC9 PC10
  PC11 PC12 */
  GPIO_InitStruct.Pin = GPIO_PIN_14|GPIO_PIN_15|GPIO_PIN_3|GPIO_PIN_6
    |GPIO_PIN_7|GPIO_PIN_8|GPIO_PIN_9|GPIO_PIN_10
      |GPIO_PIN_11|GPIO_PIN_12;
  GPIO_InitStruct.Mode = GPIO_MODE_ANALOG;
  GPIO_InitStruct.Pull = GPIO_NOPULL;
  HAL_GPIO_Init(GPIOC, &GPIO_InitStruct);

  /*Configure GPIO pin : INPUT_ALARM_Pin */
  GPIO_InitStruct.Pin = INPUT_ALARM_Pin;
  GPIO_InitStruct.Mode = GPIO_MODE_INPUT;
  GPIO_InitStruct.Pull = GPIO_PULLUP;
  HAL_GPIO_Init(INPUT_ALARM_GPIO_Port, &GPIO_InitStruct);

  /*Configure GPIO pins : PA3 PA4 */
  GPIO_InitStruct.Pin = GPIO_PIN_3|GPIO_PIN_4;
  GPIO_InitStruct.Mode = GPIO_MODE_ANALOG;
  GPIO_InitStruct.Pull = GPIO_NOPULL;
  HAL_GPIO_Init(GPIOA, &GPIO_InitStruct);

  /*Configure GPIO pins : PB0 PB1 PB10 PB14
  PB15 PB4 PB6 PB9 */
  GPIO_InitStruct.Pin = GPIO_PIN_0|GPIO_PIN_1|GPIO_PIN_10|GPIO_PIN_14
    |GPIO_PIN_15|GPIO_PIN_4|GPIO_PIN_6|GPIO_PIN_9;
  GPIO_InitStruct.Mode = GPIO_MODE_ANALOG;
  GPIO_InitStruct.Pull = GPIO_NOPULL;
  HAL_GPIO_Init(GPIOB, &GPIO_InitStruct);

  /*Configure GPIO pin : INPUT3_Pin */
  GPIO_InitStruct.Pin = INPUT3_Pin;
  GPIO_InitStruct.Mode = GPIO_MODE_INPUT;
  GPIO_InitStruct.Pull = GPIO_NOPULL;
  HAL_GPIO_Init(INPUT3_GPIO_Port, &GPIO_InitStruct);

  /*Configure GPIO pins : DIP1_Pin DIP2_Pin DIP3_Pin DIP4_Pin */
  GPIO_InitStruct.Pin = DIP1_Pin|DIP2_Pin|DIP3_Pin|DIP4_Pin;
  GPIO_InitStruct.Mode = GPIO_MODE_INPUT;
  GPIO_InitStruct.Pull = GPIO_PULLUP;
  HAL_GPIO_Init(GPIOD, &GPIO_InitStruct);

  /*Configure GPIO pins : PD12 PD13 PD0 PD1
  PD2 PD3 PD4 PD5
  PD6 PD7 */
  GPIO_InitStruct.Pin = GPIO_PIN_12|GPIO_PIN_13|GPIO_PIN_0|GPIO_PIN_1
    |GPIO_PIN_2|GPIO_PIN_3|GPIO_PIN_4|GPIO_PIN_5
      |GPIO_PIN_6|GPIO_PIN_7;
  GPIO_InitStruct.Mode = GPIO_MODE_ANALOG;
  GPIO_InitStruct.Pull = GPIO_NOPULL;
  HAL_GPIO_Init(GPIOD, &GPIO_InitStruct);

  /*Configure GPIO pins : LED_COM_Pin LED_ACK_Pin */
  GPIO_InitStruct.Pin = LED_COM_Pin|LED_ACK_Pin;
  GPIO_InitStruct.Mode = GPIO_MODE_OUTPUT_PP;
  GPIO_InitStruct.Pull = GPIO_NOPULL;
  GPIO_InitStruct.Speed = GPIO_SPEED_FREQ_LOW;
  HAL_GPIO_Init(GPIOD, &GPIO_InitStruct);

  /*Configure GPIO pin : LED_FAULT_Pin */
  GPIO_InitStruct.Pin = LED_FAULT_Pin;
  GPIO_InitStruct.Mode = GPIO_MODE_OUTPUT_PP;
  GPIO_InitStruct.Pull = GPIO_NOPULL;
  GPIO_InitStruct.Speed = GPIO_SPEED_FREQ_LOW;
  HAL_GPIO_Init(LED_FAULT_GPIO_Port, &GPIO_InitStruct);

  /*Configure GPIO pins : PA10 PA11 PA12 */
  GPIO_InitStruct.Pin = GPIO_PIN_10|GPIO_PIN_11|GPIO_PIN_12;
  GPIO_InitStruct.Mode = GPIO_MODE_AF_PP;
  GPIO_InitStruct.Pull = GPIO_NOPULL;
  GPIO_InitStruct.Speed = GPIO_SPEED_FREQ_VERY_HIGH;
  GPIO_InitStruct.Alternate = GPIO_AF10_OTG_FS;
  HAL_GPIO_Init(GPIOA, &GPIO_InitStruct);

  /*Configure GPIO pin : USART1_DIR_Pin */
  GPIO_InitStruct.Pin = USART1_DIR_Pin;
  GPIO_InitStruct.Mode = GPIO_MODE_OUTPUT_PP;
  GPIO_InitStruct.Pull = GPIO_NOPULL;
  GPIO_InitStruct.Speed = GPIO_SPEED_FREQ_LOW;
  HAL_GPIO_Init(USART1_DIR_GPIO_Port, &GPIO_InitStruct);

}

void ModbusTCPTaskFunc(void *argument)
{
  /* init code for LWIP */
  /* USER CODE BEGIN 5 */

  /* Infinite loop */
  for(;;)
  {
    if(bootFlag == 1 && booted == 0 ){
      HAL_GPIO_WritePin(ETH_RST_GPIO_Port, ETH_RST_Pin, GPIO_PIN_RESET);
      osDelay(500);
      HAL_GPIO_WritePin(ETH_RST_GPIO_Port, ETH_RST_Pin, GPIO_PIN_SET);
      osDelay(500);

      MX_LWIP_Init();
      osDelay(100);
      booted = 1 ;

    }
    if(booted == 1){
      mu_Init();
      tcp_Init();

    }
  }
  /* USER CODE END 5 */
}

void MotorControlTaskFunc(void *argument)
{
  /* USER CODE BEGIN MotorControlTaskFunc */
  PID(&MPID, &frequency, &frequency_out, &PWMSetPoint, 0.5, 0.5, 0, _PID_P_ON_E, _PID_CD_DIRECT);
  PID_SetMode(&MPID, _PID_MODE_AUTOMATIC);
  PID_SetSampleTime(&MPID, 5);
  PID_SetOutputLimits(&MPID, 1, 200000);
  HAL_TIM_Encoder_Start(&htim2, TIM_CHANNEL_ALL);

  /* Infinite loop */
  for(;;)
  {
    osDelay(1);
    if(RTUMaster == 0){
      HAL_GPIO_WritePin(MOTOR_EN_GPIO_Port,MOTOR_EN_Pin,motorEN);

      if(actionBit == 1){

        if(motor_start1 == 1){
          if(pulse_count1 < motor_pulse1 * 0.35){
            PWMSetPoint = PWMFrequency;

          }else if(pulse_count1 >= (motor_pulse1 * 0.75) && pulse_count1 < (motor_pulse1 * 0.96) ){
            PWMSetPoint = PWMFrequency * 0.7 ;

          }
          else if(pulse_count1 >= (motor_pulse1 * 0.96) ){
            PWMSetPoint = PWMFrequency * 0.05 ;

          }
          PID_Compute(&MPID);
          pwmARR = calculatePWMARR(0,(int)frequency_out,84000000);
          frequency = calculatePWMFrequency(0,pwmARR,84000000);

          if(pulse_count1 < motor_pulse1){
            motor1ActionBit = 1;
            setARR1(htim5, TIM_CHANNEL_1, pwmARR);
            HAL_TIM_PWM_Start_IT(&htim5,TIM_CHANNEL_1);
            HAL_GPIO_TogglePin(LED_COM_GPIO_Port,LED_COM_Pin);
          }
          else{
            HAL_TIM_PWM_Stop_IT(&htim5,TIM_CHANNEL_1);
            setARR1(htim5, TIM_CHANNEL_1, 0);
            motor1ActionBit = 0;
            if(manualControlBit == 1){
              motor1ActionBit2 = 0;
              HAL_GPIO_WritePin(LED_COM_GPIO_Port,LED_COM_Pin,1);

            }

          }

          //TIM1->CNT = 0;
        }else{
          HAL_TIM_PWM_Stop_IT(&htim5,TIM_CHANNEL_1);

          pulse_count1 = 0;
          motor1ActionBit = 0;

        }

        if( manualControlBit == 1){

          if(motor1ActionBit2 == 0){
            manualMotorSign = 0;
            motor_pulse1 = 0;
            actionBit2 = 0;
            manualControlBit = 0;
            actionBit = 0;
            motor_start1 = 0;
            HAL_TIM_PWM_Stop_IT(&htim5,TIM_CHANNEL_1);//motor1
            actionDone2 = 1;
            g_sHoldingRegsBuf[16] = actionDone2;

            pulse_count1 = 0;
            manualMotorPulse = 0;
            manualMotorSign = 0;
            pwmARR = 0;
            frequency_out = 0;
            frequency = 0;
            PWMFrequency = 0;
            setARR1(htim5,TIM_CHANNEL_1,0);
            //PID_CLear(&MPID);

          }
        }
        else if(manualControlBit == 0){

          if(actionBit2 == 0){
            motor_start1 = 1;
            motor1ActionBit = 1;
            actionBit2 =1 ;
            pulse_count1 = 0 ;
          }
          if(motor1ActionBit == 0){
            actionBit2 = 0;
            actionBit = 0;
            command1F = 0;
            motor_start1 = 0;
            HAL_TIM_PWM_Stop_IT(&htim5,TIM_CHANNEL_1);//motor1
            actionDone = 1;
            g_sHoldingRegsBuf[4] = actionDone;
            pulse_count1 = 0;
            manualMotorPulse = 0;
            manualMotorSign = 0;
            pwmARR = 0;
            frequency_out = 0;
            frequency = 0;
            PWMFrequency = 0;
            setARR1(htim5,TIM_CHANNEL_1,0);
            EE_WriteVariable(VirtAddVarTab[1],(uint16_t)sign1 );//motor 1 sign
            EE_WriteVariable(VirtAddVarTab[2],(uint16_t)command1 );//motor1 angle

            EE_ReadVariable(VirtAddVarTab[1],&motor1CurrentsignEE);
            EE_ReadVariable(VirtAddVarTab[2],&motor1CurrentPosEE);

            currentDegree1 = ((float)motor1CurrentPosEE)/100;
          }
        }

      }
    }
  }
  /* USER CODE END MotorControlTaskFunc */
}

void ModbusRTUTaskFunc(void *argument)
{
  /* USER CODE BEGIN ModbusRTUTaskFunc */
  /* Infinite loop */
  for(;;)
  {

    if(RTUMaster == 1){
      if(modbusStart == 0 && booted == 1){
        ModbusMaster_begin();
        osDelay(1000);
        modbusStart = 1;
      }

      if(modbusStart == 1){

        plc_relay1 = g_sHoldingRegsBuf[9];
        plc_relay2 = g_sHoldingRegsBuf[10];
        plc_relay3 = g_sHoldingRegsBuf[11];
        plc_relay4 = g_sHoldingRegsBuf[12];
        plc_relay5 = g_sHoldingRegsBuf[13];
        plc_relay6 = g_sHoldingRegsBuf[14];

        result_modbus1 = ModbusMaster_readDiscreteInputs(0x02,1024,8);
        osDelay(150);
        if (result_modbus1 == 0x00)
        {
          HAL_GPIO_WritePin(LED_FAULT_GPIO_Port,LED_FAULT_Pin,(GPIO_PinState)1);

          discreet_input_result_modbus = ModbusMaster_getResponseBuffer(0x00);
          plc_input1 = extractBit(discreet_input_result_modbus,0);
          plc_input2 = extractBit(discreet_input_result_modbus,1);
          plc_input3 = extractBit(discreet_input_result_modbus,2);
          plc_input4 = extractBit(discreet_input_result_modbus,3);
          plc_input5 = extractBit(discreet_input_result_modbus,4);
          plc_input6 = extractBit(discreet_input_result_modbus,5);
          plc_input7 = extractBit(discreet_input_result_modbus,6);
          plc_input8 = extractBit(discreet_input_result_modbus,7);
          //g_ucDiscreteInputsBuf[0] = discreet_input_result_modbus;
          g_sHoldingRegsBuf[0] = plc_input1 ;
          g_sHoldingRegsBuf[1] = plc_input2 ;
          g_sHoldingRegsBuf[2] = plc_input3 ;
          g_sHoldingRegsBuf[3] = plc_input4 ;
          g_sHoldingRegsBuf[4] = plc_input5 ;
          g_sHoldingRegsBuf[5] = plc_input6 ;
          g_sHoldingRegsBuf[6] = plc_input7 ;
          g_sHoldingRegsBuf[7] = plc_input8 ;
          ModbusMaster_writeSingleCoil(0x02,1280,plc_relay1);
          osDelay(150);
          ModbusMaster_writeSingleCoil(0x02,1281,plc_relay2);
          osDelay(150);
          ModbusMaster_writeSingleCoil(0x02,1282,plc_relay3);
          osDelay(150);
          ModbusMaster_writeSingleCoil(0x02,1283,plc_relay4);
          osDelay(150);
          ModbusMaster_writeSingleCoil(0x02,1284,plc_relay5);
          osDelay(150);
          ModbusMaster_writeSingleCoil(0x02,1285,plc_relay6);
          osDelay(150);

        }else{
          HAL_GPIO_WritePin(LED_FAULT_GPIO_Port,LED_FAULT_Pin,(GPIO_PinState)0);

        }
        osDelay(150);

      }

    }
    osDelay(5);
  }
  /* USER CODE END ModbusRTUTaskFunc */
}

void GovernerTaskFunc(void *argument)
{
  /* USER CODE BEGIN GovernerTaskFunc */
  W25qxx_Init();
  osDelay(200);
  spiflash_ID = W25qxx_ReadID();
  if(bootFlag == 0){
    osDelay(1000);
    dip1 = HAL_GPIO_ReadPin(DIP1_GPIO_Port,DIP1_Pin);
    dip2 = HAL_GPIO_ReadPin(DIP2_GPIO_Port,DIP2_Pin);
    dip3 = HAL_GPIO_ReadPin(DIP3_GPIO_Port,DIP3_Pin);
    dip4 = HAL_GPIO_ReadPin(DIP4_GPIO_Port,DIP4_Pin);
    address = dip1|(dip2<<1)|(dip3<<2)|(dip4<<3);
    ipLastPart = address + 100;
    MACAddrUSER = address ;
    bootFlag = 1;
    if(address == 15){
      RTUMaster = 1;
    }else
    {
      RTUMaster = 0 ;
    }
  }
  /* Infinite loop */

  /* list of registers used in the process of moving motor / reading plc input and outputs
  if address is between 0 to 8
  holding register 0 is command Update Bit //this is read/write , computer writes to activate and device write 0 to end
  holding register 1 is sign of the command 1 is negative and 0 is positive
  holding register 2 is degree of command multiplied to 100 max is 180
  holding register 3 is speed of the command multiplied by 10 in hz max is 20000
  holding register 4 is command is done should be zeroed by the upper controller
  holding register 5 is homing sesnsor state
  holding register 6 is Drive Fault state
  holding register 7 is hw reduction value between 1 and 200
  holding register 8 is encoder sign
  holding register 9 is encoder value in degree multiplied by 100
  holding register 10 is manual command update bit
  holding register 11 is manual command sign
  holding register 12 is manual command pulse 1
  holding register 13 is manual command pulse 2
  holding register 14 is manual command speed
  holding register 15 is manual command EEPROM RESET
  holding register 16 is manual command Done

  holding register 18 is current sign eeprom
  holding register 19 is current position eeprom

  if address is 15
  holding register 0 is PLC Input 0
  holding register 1 is PLC Input 1
  holding register 2 is PLC Input 2
  holding register 3 is PLC Input 3
  holding register 4 is PLC Input 4
  holding register 5 is PLC Input 5
  holding register 6 is PLC Input 6
  holding register 7 is PLC Input 7

  holding register 9  is PLC Output 0
  holding register 10 is PLC Output 1
  holding register 11 is PLC Output 2
  holding register 12 is PLC Output 3
  holding register 13 is PLC Output 4
  holding register 14 is PLC Output 5

  list of registers used in the process of moving motor / reading plc input and outputs END*/

  for(;;)
  {
    if(booted == 1){

      ///////reading dip switches in case of address change
      dip1 = HAL_GPIO_ReadPin(DIP1_GPIO_Port,DIP1_Pin);
      dip2 = HAL_GPIO_ReadPin(DIP2_GPIO_Port,DIP2_Pin);
      dip3 = HAL_GPIO_ReadPin(DIP3_GPIO_Port,DIP3_Pin);
      dip4 = HAL_GPIO_ReadPin(DIP4_GPIO_Port,DIP4_Pin);
      addressNew = dip1|(dip2<<1)|(dip3<<2)|(dip4<<3);
      if(addressNew != address){
        HAL_NVIC_SystemReset();
      }

      ///////reading dip switches in case of address change

      //updating current values in modbus
      g_sHoldingRegsBuf[18] = motor1CurrentsignEE;
      g_sHoldingRegsBuf[19] = motor1CurrentPosEE;
      //updating current values in modbus END

      //manual command
      commandManualUpdateBit = g_sHoldingRegsBuf[10];
      if(commandManualUpdateBit == 1){
        commandManualUpdateBit = 0;
        g_sHoldingRegsBuf[10] = commandManualUpdateBit ;
        manualMotorSign = g_sHoldingRegsBuf[11];
        manualMotorPulse = ((g_sHoldingRegsBuf[13]<<16) | g_sHoldingRegsBuf[12]);
        manualEepromReset = g_sHoldingRegsBuf[15];
        PWMFrequency = g_sHoldingRegsBuf[14] * 10;
        if(PWMFrequency == 0 ){
          PWMFrequency = PWM_NUM1 * 10 ;

        }
        osDelay(10);

        if(manualEepromReset == 1){
          manualEepromReset = 0;
          eepromResetBit = 1;

        }

        HAL_GPIO_WritePin(MOTOR_DIR_GPIO_Port,MOTOR_DIR_Pin,(GPIO_PinState)manualMotorSign); // motor1
        osDelay(2);
        motor_pulse1 = manualMotorPulse ;
        motor_start1 = 1;
        pulse_count1 = 0;
        motor1ActionBit2 = 1;
        manualControlBit = 1;
        actionBit = 1;

      }
      //manual command   END

      //command update from Upper controller
      commandUpdateBit = g_sHoldingRegsBuf[0]; //command update bit
      if(commandUpdateBit ==1 ){
        if(actionBit == 0){
          commandUpdateBit = 0;
          g_sHoldingRegsBuf[0] = commandUpdateBit; //command update bit
          EE_ReadVariable(VirtAddVarTab[1],&motor1CurrentsignEE);
          EE_ReadVariable(VirtAddVarTab[2],&motor1CurrentPosEE);
          osDelay(1);
          currentDegree1 = ((float)motor1CurrentPosEE)/100;
          command1 = g_sHoldingRegsBuf[2];
          command1F = (((command1 )/ 100.00));
          sign1 = g_sHoldingRegsBuf[1];
          PWMFrequency = g_sHoldingRegsBuf[3]*10;
          if(PWMFrequency == 0){
            PWMFrequency = PWM_NUM1 * 10 ;
          }
          commandDegreeInput1 = (int)degreeCommandCal(command1F,sign1);
          if(commandDegreeInput1<joint1UpperT || commandDegreeInput1>joint1LowerT ){
            command1OK = 1;
          }else{
            command1OK = 0;
          }
          if(command1OK == 1 ){
            degreeDifference1 = calculatingDifferencePulse(currentDegree1,command1F,motor1CurrentsignEE,sign1);
            if(degreeDifference1> 0 ){
              signDifference1 = 0;
            }else if(degreeDifference1< 0){
              signDifference1 = 1;
            }

            //somehow update the eeprom variables to save current robot position
            osDelay(5);
            motor1GearRatio = g_sHoldingRegsBuf[7];
            if(motor1GearRatio == 0){
              //setting the variables based on the address
              if(address == 0){
                motor1GearRatio = address1GearRatio;

              }else if(address == 1){
                motor1GearRatio = address2GearRatio;

              }else if(address == 2){
                motor1GearRatio = address3GearRatio;

              }else if(address == 3){
                motor1GearRatio = address4GearRatio;

              }else if(address == 4){
                motor1GearRatio = address5GearRatio;

              }else if(address == 5){
                motor1GearRatio = address6GearRatio;

              }

              //setting the variables based on the address END

            }

            motor1PulseCom = degree2pulse((fabs((double)degreeDifference1)),motor1GearRatio,motorRotationConstant);
            motor_pulse1 = motor1PulseCom ;
            HAL_GPIO_WritePin(MOTOR_DIR_GPIO_Port,MOTOR_DIR_Pin,(GPIO_PinState)signDifference1); // motor1
            osDelay(2);
            actionBit = 1 ;
          }else{
            actionBit = 0 ;
            actionBit2 = 0;
            actionBit = 0;
            command1F = 0;
            posReset = 0;
            motor_start1 = 0;
            actionDone = 1;
          }
        }
      }

      //command update from Upper controller END

      //reset eeprom if upper controller commands
      if(eepromResetBit == 1){
        EE_WriteVariable(VirtAddVarTab[0],0 );//virginity_bit
        osDelay(50);
        Device_Init();
        eepromResetBit = 0;

      }
      //reset eeprom if upper controller commands END

      //handles flash page changes
      if(flash_page_change == 1){
        flash_page_change = 0;
        EEPROM_UPDATE();
      }
      //handles flash page changes END
    }

    osDelay(1);
  }
  /* USER CODE END GovernerTaskFunc */
}

void HAL_TIM_PeriodElapsedCallback(TIM_HandleTypeDef *htim)
{
  if (htim->Instance == TIM6) {
    HAL_IncTick();
    if(encoder_counter < 100){
      encoder_counter ++;
    }else if(encoder_counter >= 100){
      update_encoder(&enc_instance_mot,&htim2);
      encoder_direction = enc_instance_mot.direction;
      if(enc_instance_mot.position < 0 ){

        encoderPositionReal =(int)enc_instance_mot.position;
        encoder_position = abs((int)enc_instance_mot.position);

      }else if(enc_instance_mot.position >=0){
        encoderPositionReal =(int)enc_instance_mot.position;
        encoder_position = enc_instance_mot.position;
      }
      encoder_velocity = enc_instance_mot.velocity ;

    }
  }
}

void Error_Handler(void)
{
  /* USER CODE BEGIN Error_Handler_Debug */
  /* User can add his own implementation to report the HAL error return state */
  __disable_irq();
  while (1)
  {
    HAL_NVIC_SystemReset();
  }
  /* USER CODE END Error_Handler_Debug */
}
